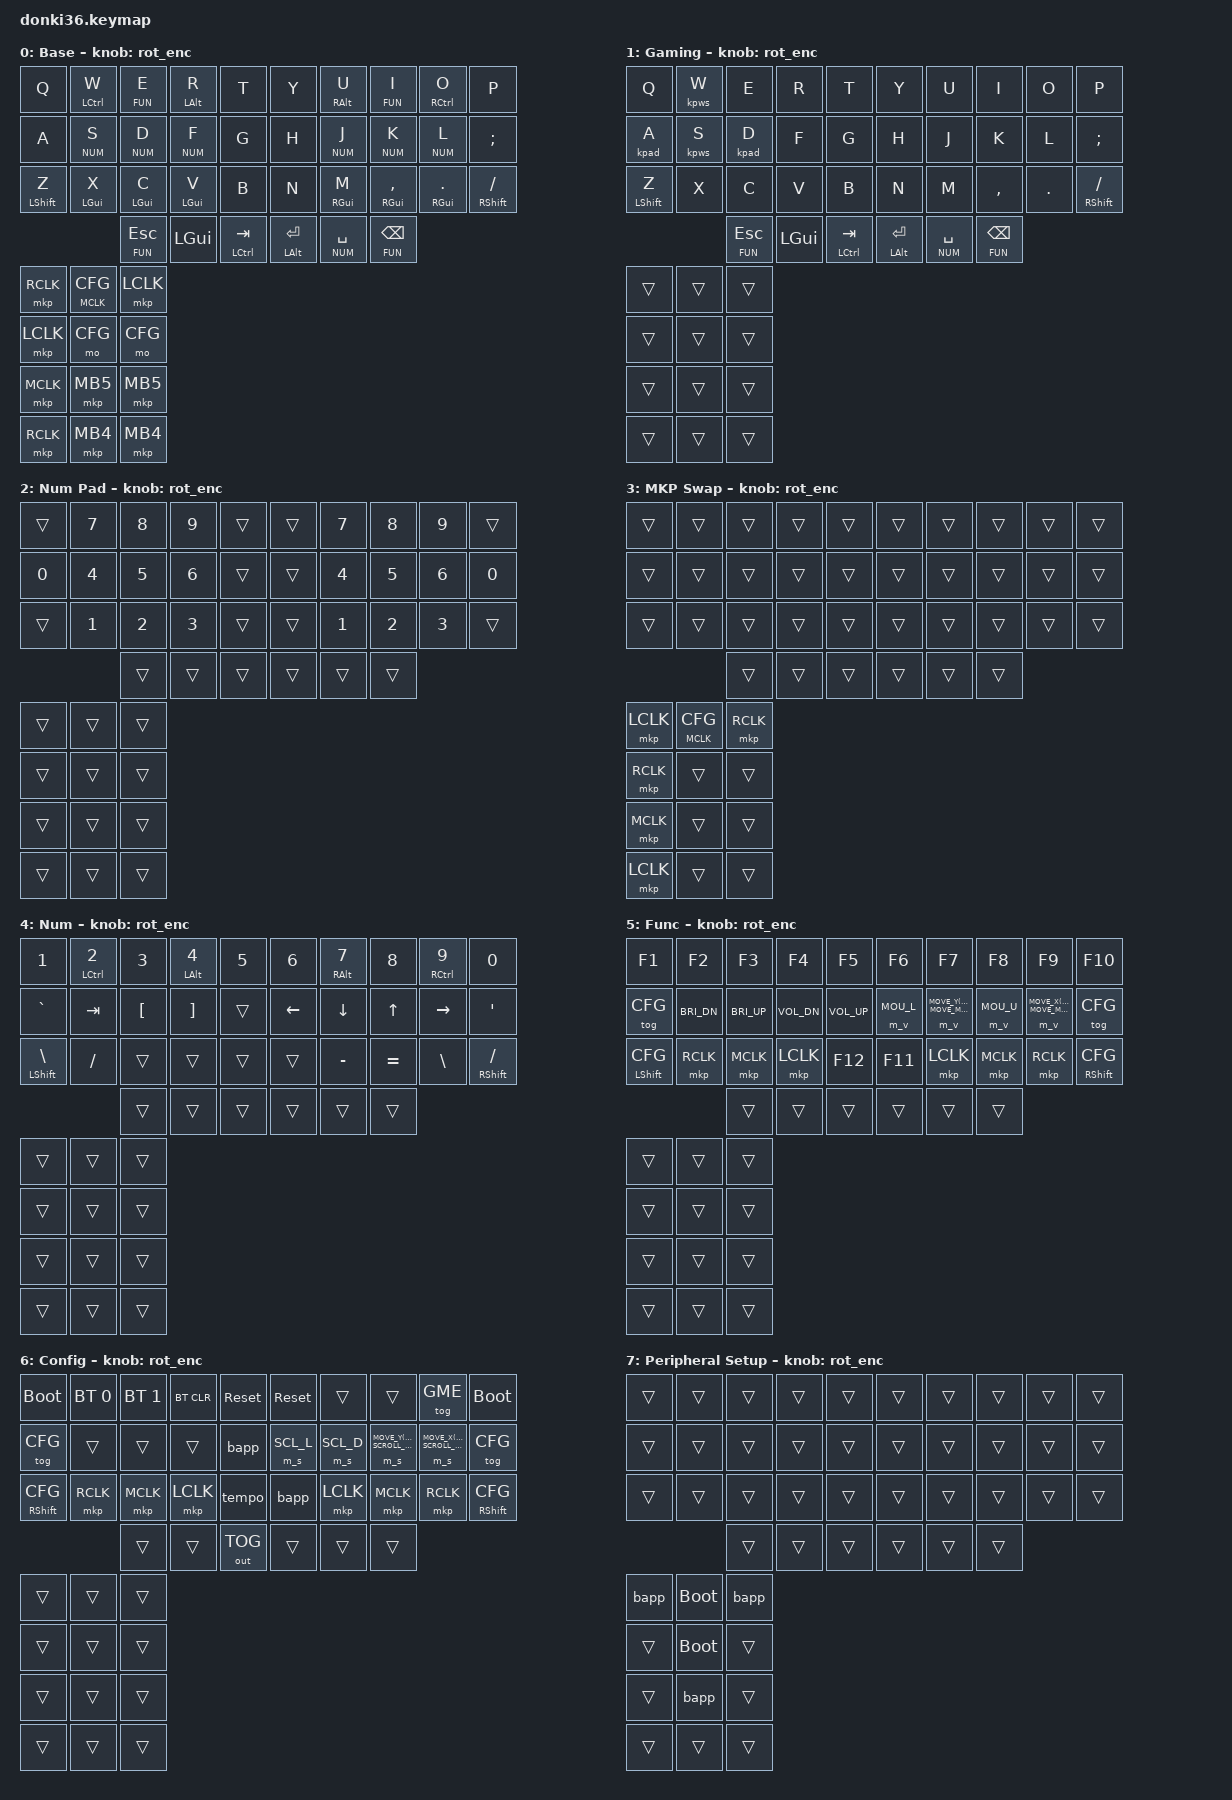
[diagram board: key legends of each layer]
/*
 * Copyright (c) 2020 The ZMK Contributors
 *
 * SPDX-License-Identifier: MIT
 */

#include <zephyr/dt-bindings/input/input-event-codes.h>

#include <behaviors.dtsi>
#include <behaviors/studio_unlock.dtsi>
#include <behaviors/mouse_keys.dtsi>
#include <behaviors/mouse_key_press.dtsi>
#include <behaviors/mouse_key_toggle.dtsi>
#include <behaviors/battery_percentage_printer.dtsi>

#include <dt-bindings/zmk/keys.h>
#include <dt-bindings/zmk/bt.h>
#include <dt-bindings/zmk/rgb.h>
#include <dt-bindings/zmk/ext_power.h>
#include <dt-bindings/zmk/outputs.h>
#include <dt-bindings/zmk/mouse.h>
#include <dt-bindings/zmk/input_transform.h>

#include <behaviors/key_press_lip.dtsi>
#include <behaviors/tempo.dtsi>
// #include <behaviors/insomnia.dtsi>
// #include <dt-bindings/zmk/insomnia.h>

#include <input/processors/report_rate_limit.dtsi>
#include <input/processors/xyz.dtsi>

#define BAS 0
#define GME 1
#define NUP 2
#define LHB 3
#define NUM 4
#define FUN 5
#define CFG 6
#define PHS 7

#ifndef MOVE_Y
#define MOVE_Y(n) (0)
#endif
#ifndef MOVE_X
#define MOVE_X(n) (0)
#endif

#define U_MOUSE_MOVE_MAX 1700
#define MOU_U MOVE_Y(-U_MOUSE_MOVE_MAX)
#define MOU_D MOVE_Y(U_MOUSE_MOVE_MAX)
#define MOU_L MOVE_X(-U_MOUSE_MOVE_MAX)
#define MOU_R MOVE_X(U_MOUSE_MOVE_MAX)

#define U_MOUSE_SCROLL_MAX 10
#define SCL_U MOVE_Y(U_MOUSE_SCROLL_MAX)
#define SCL_D MOVE_Y(-U_MOUSE_SCROLL_MAX)
#define SCL_L MOVE_X(-U_MOUSE_SCROLL_MAX)
#define SCL_R MOVE_X(U_MOUSE_SCROLL_MAX)

// &zip_report_rate_limit {
//         limit-ble-only;
// };

/ {
        xy_transf: xy_transf {
                compatible = "zmk,input-processor-transform";
                #input-processor-cells = <1>;
                type = <INPUT_EV_REL>;
                x-codes = <INPUT_REL_X>, <INPUT_REL_WHEEL>;
                y-codes = <INPUT_REL_Y>, <INPUT_REL_HWHEEL>;
        };
        xy_scaler: xy_scaler {
                compatible = "zmk,input-processor-scaler";
                #input-processor-cells = <2>;
                type = <INPUT_EV_REL>;
                codes = <INPUT_REL_X>, <INPUT_REL_Y>;
                track-remainders;
        };
        x_scaler: x_scaler {
                compatible = "zmk,input-processor-scaler";
                #input-processor-cells = <2>;
                type = <INPUT_EV_REL>;
                codes = <INPUT_REL_X>;
        };
        to_wheel: to_wheel {
                compatible = "zmk,input-processor-code-mapper";
                #input-processor-cells = <0>;
                type = <INPUT_EV_REL>;
                map = <INPUT_REL_X INPUT_REL_HWHEEL>
                    , <INPUT_REL_Y INPUT_REL_WHEEL>;
        };

        tball0_mmv_il {
                compatible = "zmk,input-listener";
                device = <&tball0_split>;
                input-processors = <&zip_zxy>, <&zip_report_rate_limit 1>;
                precise {
                        layers = <NUM>;
                        process-next;
                        input-processors = <&xy_scaler 2 3>;
                };
                scroll {
                        layers = <CFG>;
                        process-next;
                        input-processors = <&xy_transf (INPUT_TRANSFORM_Y_INVERT)>
                                        , <&xy_scaler 1 55> // , <&x_scaler 0 1>
                                        , <&to_wheel>;
                };
        };

        tball1_mmv_il {
                compatible = "zmk,input-listener";
                device = <&tball1_split>;
                input-processors = <&zip_zxy>, <&zip_report_rate_limit 1>;
                precise {
                        layers = <NUM>;
                        process-next;
                        input-processors = <&xy_scaler 2 3>;
                };
                scroll {
                        layers = <CFG>;
                        process-next;
                        input-processors = <&xy_transf (INPUT_TRANSFORM_Y_INVERT)>
                                        , <&xy_scaler 1 55> // , <&x_scaler 0 1>
                                        , <&to_wheel>;
                };
        };

        tball2_mmv_il {
                compatible = "zmk,input-listener";
                device = <&tball2_split>;
                input-processors = <&zip_zxy>, <&zip_report_rate_limit 1>;
                precise {
                        layers = <NUM>;
                        process-next;
                        input-processors = <&xy_scaler 2 3>;
                };
                scroll {
                        layers = <CFG>;
                        process-next;
                        input-processors = <&xy_transf (INPUT_TRANSFORM_Y_INVERT)>
                                        , <&xy_scaler 1 55> // , <&x_scaler 0 1>
                                        , <&to_wheel>;
                };
        };

        tball3_mmv_il {
                compatible = "zmk,input-listener";
                device = <&tball3_split>;
                input-processors = <&zip_zxy>, <&zip_report_rate_limit 1>;
                precise {
                        layers = <NUM>;
                        process-next;
                        input-processors = <&xy_scaler 2 3>;
                };
                scroll {
                        layers = <CFG>;
                        process-next;
                        input-processors = <&xy_transf (INPUT_TRANSFORM_Y_INVERT)>
                                        , <&xy_scaler 1 55> // , <&x_scaler 0 1>
                                        , <&to_wheel>;
                };
        };

        tpoint0_mmv_il {
                compatible = "zmk,input-listener";
                device = <&tpoint0_split>;
                input-processors = <&zip_zxy>, <&zip_report_rate_limit 1>
                                 , <&xy_transf (INPUT_TRANSFORM_Y_INVERT)>;
                precise {
                        layers = <NUM>;
                        process-next;
                        input-processors = <&xy_scaler 2 3>;
                };
                scroll {
                        layers = <CFG>;
                        process-next;
                        input-processors = <&xy_scaler 1 22>, <&x_scaler 0 1>
                                         , <&to_wheel>;
                };
        };

        tpad0_mmv_il {
                compatible = "zmk,input-listener";
                device = <&tpad0_split>;
                input-processors = <&zip_zxy>, <&zip_report_rate_limit 1>
                                 , <&xy_transf (INPUT_TRANSFORM_Y_INVERT)>;
                precise {
                        layers = <NUM>;
                        process-next;
                        input-processors = <&xy_scaler 2 3>;
                };
                scroll {
                        layers = <CFG>;
                        process-next;
                        input-processors = <&xy_scaler 1 22>, <&x_scaler 0 1>
                                         , <&to_wheel>;
                };
        };

        mou0_mmv_il {
                compatible = "zmk,input-listener";
                device = <&mou0_split>;
                input-processors = <&zip_zxy>, <&zip_report_rate_limit 1>
                                 , <&xy_transf (INPUT_TRANSFORM_X_INVERT | INPUT_TRANSFORM_Y_INVERT)>;
                precise {
                        layers = <NUM>;
                        process-next;
                        input-processors = <&xy_scaler 2 3>;
                };
                scroll {
                        layers = <CFG>;
                        process-next;
                        input-processors = <&xy_scaler 1 40>, <&x_scaler 0 1>
                                         , <&to_wheel>;
                };
        };

        mou1_mmv_il {
                compatible = "zmk,input-listener";
                device = <&mou1_split>;
                input-processors = <&zip_zxy>, <&zip_report_rate_limit 1>;
                precise {
                        layers = <NUM>;
                        process-next;
                        input-processors = <&xy_scaler 2 3>;
                };
                scroll {
                        layers = <CFG>;
                        process-next;
                        input-processors = <&xy_transf (INPUT_TRANSFORM_Y_INVERT)>
                                         , <&xy_scaler 1 40>, <&x_scaler 0 1>
                                         , <&to_wheel>;
                };
        };

        mou2_mmv_il {
                compatible = "zmk,input-listener";
                device = <&mou2_split>;
                input-processors = <&zip_zxy>, <&zip_report_rate_limit 1>;
                precise {
                        layers = <NUM>;
                        process-next;
                        input-processors = <&xy_scaler 2 3>;
                };
                scroll {
                        layers = <CFG>;
                        process-next;
                        input-processors = <&xy_transf (INPUT_TRANSFORM_Y_INVERT)>
                                         , <&xy_scaler 1 40>, <&x_scaler 0 1>
                                         , <&to_wheel>;
                };
        };

        /* decompress z to xy */
        zip_zxy_alt: zip_zxy_alt {
                compatible = "zmk,input-processor-xyz";
                #input-processor-cells = <0>;
                type = <INPUT_EV_REL>;
                decompress;
                z-code = <INPUT_REL_Z>;
                xy-codes = <INPUT_REL_X INPUT_REL_Y>;
        };

        mou2_mmv_il_alt {
                compatible = "zmk,input-listener";
                device = <&mou2_split_alt>;
                trackball_mode_overriding {
                        layers = <PHS>;
                        input-processors = <&zip_zxy_alt>;
                };
                normal_scrolling_mode {
                        layers = <BAS GME NUP LHB NUM FUN CFG>;
                        input-processors = <&zip_zxy_alt>
                                         , <&xy_transf (INPUT_TRANSFORM_Y_INVERT)>
                                         , <&xy_scaler 1 40> // , <&x_scaler 0 1>
                                         , <&to_wheel>;
                };
        };

        behaviors {
                ht: hold_tap_mods {
                        compatible = "zmk,behavior-hold-tap"; #binding-cells = <2>;
                        tapping-term-ms = <200>;
                        flavor = "hold-preferred"; bindings = <&kp>, <&kp>;
                        display-name = "mod-tap";
                };
                hm: homerow_mods {
                        compatible = "zmk,behavior-hold-tap"; #binding-cells = <2>;
                        tapping-term-ms = <200>; quick-tap-ms = <200>;
                        flavor = "tap-preferred"; bindings = <&kp>, <&kp>;
                        display-name = "mod-tap";
                };
                hl: homerow_layers {
                        compatible = "zmk,behavior-hold-tap"; #binding-cells = <2>;
                        tapping-term-ms = <200>; quick-tap-ms = <200>;
                        flavor = "tap-preferred"; bindings = <&mo>, <&kp>;
                        display-name = "hold-layer";
                };
                kg: key_press_tap_toggle {
                        compatible = "zmk,behavior-hold-tap"; #binding-cells = <2>;
                        tapping-term-ms = <200>; quick-tap-ms = <200>;
                        flavor = "tap-preferred"; bindings = <&kp>, <&tog>;
                };
                mkg: hold_mouse_key_press_tap_toggle {
                        compatible = "zmk,behavior-hold-tap"; #binding-cells = <2>;
                        tapping-term-ms = <200>; quick-tap-ms = <200>;
                        flavor = "tap-preferred"; bindings = <&mkp>, <&tog>;
                };
                m_v: mouse_move {
                        compatible = "zmk,behavior-input-two-axis";
                        #binding-cells = <1>;
                        trigger-period-ms = <12>; // slow down for OTA, default is 3ms
                        x-input-code = <INPUT_REL_X>;
                        y-input-code = <INPUT_REL_Y>;
                        time-to-max-speed-ms = <300>;
                        acceleration-exponent = <1>;
                };
                m_s: mouse_scroll {
                        compatible = "zmk,behavior-input-two-axis";
                        #binding-cells = <1>;
                        trigger-period-ms = <12>; // slow down for OTA, default is 3ms
                        x-input-code = <INPUT_REL_HWHEEL>;
                        y-input-code = <INPUT_REL_WHEEL>;
                        time-to-max-speed-ms = <50>;
                        acceleration-exponent = <1>;
                };
                ec_s: mouse_scroll {
                        compatible = "zmk,behavior-input-two-axis";
                        #binding-cells = <1>;
                        trigger-period-ms = <12>; // slow down for OTA, default is 3ms
                        x-input-code = <INPUT_REL_HWHEEL>;
                        y-input-code = <INPUT_REL_WHEEL>;
                        time-to-max-speed-ms = <277>;
                        acceleration-exponent = <0>;
                };
                rot_enc: sensor_rotate {
                        compatible = "zmk,behavior-sensor-rotate";
                        #sensor-binding-cells = <0>;
                        bindings = <&ec_s MOVE_Y(-17)>, <&ec_s MOVE_Y(17)>;
                        tap-ms = <65>;
                };
        };

        mmv_input_listener {
                compatible = "zmk,input-listener";
                device = <&m_v>;
        };
        mms_input_listener {
                compatible = "zmk,input-listener";
                device = <&m_s>;
        };

        //   0   1   2   3   4     5   6   7   8   9  <-- split keyboard
        //  10  11  12  13  14    15  16  17  18  19
        //  20  21  22  23  24    25  26  27  28  29
        //          30  31  32    33  34  35
        //  36  37  38  <-- generic pointer devices
        //  39  40  41  <-- mouse devices
        //  42  43  44
        //  45  46  47
        combos {
                compatible = "zmk,combos";

                bksp      { timeout-ms = <50>; key-positions = <7 8>; bindings = <&kp BKSP>; layers = <BAS GME NUP LHB NUM FUN CFG PHS>; };
                del       { timeout-ms = <50>; key-positions = <6 7 8>; bindings = <&kp DEL>; layers = <BAS GME NUP LHB NUM FUN CFG PHS>; };

                esc       { timeout-ms = <50>; key-positions = <1 2>; bindings = <&kp ESC>; layers = <BAS GME NUP LHB NUM FUN CFG PHS>; };
                tab       { timeout-ms = <50>; key-positions = <2 3>; bindings = <&kp TAB>; layers = <BAS GME NUP LHB NUM FUN CFG PHS>; };

                spc_l     { timeout-ms = <50>; key-positions = <12 13>; bindings = <&kp SPC>; layers = <BAS GME NUP LHB NUM FUN CFG PHS>; };
                spc_r     { timeout-ms = <50>; key-positions = <16 17>; bindings = <&kp SPC>; layers = <BAS GME NUP LHB NUM FUN CFG PHS>; };
                spc_l2    { timeout-ms = <50>; key-positions = <22 23>; bindings = <&kp SPC>; layers = <BAS GME NUP NUM FUN CFG>; };
                spc_r2    { timeout-ms = <50>; key-positions = <26 27>; bindings = <&kp SPC>; layers = <BAS GME NUP NUM FUN CFG>; };
                spc_l3    { timeout-ms = <50>; key-positions = <12 23>; bindings = <&kp SPC>; layers = <BAS GME NUP NUM FUN CFG>; };
                spc_r3    { timeout-ms = <50>; key-positions = <26 17>; bindings = <&kp SPC>; layers = <BAS GME NUP NUM FUN CFG>; };

                ret_r     { timeout-ms = <50>; key-positions = <26 17 18>; bindings = <&kp RET>; layers = <BAS GME NUP LHB NUM FUN CFG PHS>; };
                ret_l     { timeout-ms = <50>; key-positions = <11 12 23>; bindings = <&kp RET>; layers = <BAS GME NUP LHB NUM FUN CFG PHS>; };

                tog_NUP_l  { timeout-ms = <50>; key-positions = <1 23>; bindings = <&tog NUP>; layers = <BAS GME NUP LHB NUM FUN CFG PHS>; };
                tog_NUP_r  { timeout-ms = <50>; key-positions = <8 26>; bindings = <&tog NUP>; layers = <BAS GME NUP LHB NUM FUN CFG PHS>; };

                tog_NUM_l  { timeout-ms = <50>; key-positions = <10 31>; bindings = <&tog NUM>; layers = <BAS GME NUP LHB NUM FUN CFG PHS>; };
                tog_NUM_r  { timeout-ms = <50>; key-positions = <19 34>; bindings = <&tog NUM>; layers = <BAS GME NUP LHB NUM FUN CFG PHS>; };
                tog_NUM_la { timeout-ms = <50>; key-positions = <10 23>; bindings = <&tog NUM>; layers = <BAS GME NUP LHB NUM FUN CFG PHS>; };
                tog_NUM_ra { timeout-ms = <50>; key-positions = <19 26>; bindings = <&tog NUM>; layers = <BAS GME NUP LHB NUM FUN CFG PHS>; };
                tog_NUM_lb { timeout-ms = <50>; key-positions = <10 13>; bindings = <&tog NUM>; layers = <BAS GME NUP LHB NUM FUN CFG PHS>; };
                tog_NUM_rb { timeout-ms = <50>; key-positions = <19 16>; bindings = <&tog NUM>; layers = <BAS GME NUP LHB NUM FUN CFG PHS>; };
                tog_NUM_lc { timeout-ms = <50>; key-positions = <11 13>; bindings = <&tog NUM>; layers = <BAS GME NUP LHB NUM FUN CFG PHS>; };
                tog_NUM_rc { timeout-ms = <50>; key-positions = <16 18>; bindings = <&tog NUM>; layers = <BAS GME NUP LHB NUM FUN CFG PHS>; };
                tog_NUM_l34    { timeout-ms = <50>; key-positions = <10 31>; bindings = <&tog NUM>; layers = <BAS GME NUP LHB NUM FUN CFG PHS>; };
                tog_NUM_r34    { timeout-ms = <50>; key-positions = <19 34>; bindings = <&tog NUM>; layers = <BAS GME NUP LHB NUM FUN CFG PHS>; };

                tog_FUN_l { timeout-ms = <50>; key-positions = <21 22>; bindings = <&tog FUN>; layers = <BAS GME NUP LHB NUM FUN CFG PHS>; };
                tog_FUN_r { timeout-ms = <50>; key-positions = <27 28>; bindings = <&tog FUN>; layers = <BAS GME NUP LHB NUM FUN CFG PHS>; };
                
                lclk_l     { timeout-ms = <50>; key-positions = <11 12>; bindings = <&mkp LCLK>; layers = <BAS GME NUP LHB NUM FUN CFG PHS>; };
                rclk_l     { timeout-ms = <50>; key-positions = <11 24>; bindings = <&mkp RCLK>; layers = <BAS GME NUP LHB NUM FUN CFG PHS>; };
                mclk_l     { timeout-ms = <50>; key-positions = <12 24>; bindings = <&mkp MCLK>; layers = <BAS GME NUP LHB NUM FUN CFG PHS>; };
                rclk_la    { timeout-ms = <50>; key-positions = <11 23>; bindings = <&mkp RCLK>; layers = <BAS GME NUP LHB NUM FUN CFG PHS>; };
                mclk_la    { timeout-ms = <50>; key-positions = <12 23>; bindings = <&mkp MCLK>; layers = <BAS GME NUP LHB NUM FUN CFG PHS>; };
                m4_l       { timeout-ms = <50>; key-positions = <13 23>; bindings = <&mkp MB4>; layers = <BAS GME NUP LHB NUM FUN CFG PHS>; };
                m5_l       { timeout-ms = <50>; key-positions = <14 24>; bindings = <&mkp MB5>; layers = <BAS GME NUP LHB NUM FUN CFG PHS>; };
                rclk_l34       { timeout-ms = <50>; key-positions = <11 31>; bindings = <&mkp RCLK>; layers = <BAS GME NUP LHB NUM FUN CFG PHS>; };
                mclk_l34       { timeout-ms = <50>; key-positions = <12 31>; bindings = <&mkp MCLK>; layers = <BAS GME NUP LHB NUM FUN CFG PHS>; };
                m4_l34         { timeout-ms = <50>; key-positions = <13 31>; bindings = <&mkp MB4>; layers = <BAS GME NUP LHB NUM FUN CFG PHS>; };
                m5_l34         { timeout-ms = <50>; key-positions = <14 31>; bindings = <&mkp MB5>; layers = <BAS GME NUP LHB NUM FUN CFG PHS>; };

                lclk_r     { timeout-ms = <50>; key-positions = <17 18>; bindings = <&mkp LCLK>; layers = <BAS GME NUP LHB NUM FUN CFG PHS>; };
                rclk_r     { timeout-ms = <50>; key-positions = <18 25>; bindings = <&mkp RCLK>; layers = <BAS GME NUP LHB NUM FUN CFG PHS>; };
                mclk_r     { timeout-ms = <50>; key-positions = <17 25>; bindings = <&mkp MCLK>; layers = <BAS GME NUP LHB NUM FUN CFG PHS>; };
                rclk_ra    { timeout-ms = <50>; key-positions = <18 26>; bindings = <&mkp RCLK>; layers = <BAS GME NUP LHB NUM FUN CFG PHS>; };
                mclk_ra    { timeout-ms = <50>; key-positions = <17 26>; bindings = <&mkp MCLK>; layers = <BAS GME NUP LHB NUM FUN CFG PHS>; };
                m4_r       { timeout-ms = <50>; key-positions = <16 26>; bindings = <&mkp MB4>; layers = <BAS GME NUP LHB NUM FUN CFG PHS>; };
                m5_r       { timeout-ms = <50>; key-positions = <15 25>; bindings = <&mkp MB5>; layers = <BAS GME NUP LHB NUM FUN CFG PHS>; };
                rclk_r34       { timeout-ms = <50>; key-positions = <18 34>; bindings = <&mkp RCLK>; layers = <BAS GME NUP LHB NUM FUN CFG PHS>; };
                mclk_r34       { timeout-ms = <50>; key-positions = <17 34>; bindings = <&mkp MCLK>; layers = <BAS GME NUP LHB NUM FUN CFG PHS>; };
                m4_r34         { timeout-ms = <50>; key-positions = <16 34>; bindings = <&mkp MB4>; layers = <BAS GME NUP LHB NUM FUN CFG PHS>; };
                m5_r34         { timeout-ms = <50>; key-positions = <15 34>; bindings = <&mkp MB5>; layers = <BAS GME NUP LHB NUM FUN CFG PHS>; };

                dfu_l     { timeout-ms = <50>; key-positions = <0 1>; bindings = <&bootloader>; layers = <CFG>; };
                bt_clr    { timeout-ms = <50>; key-positions = <1 2 3>; bindings = <&bt BT_CLR>; layers = <CFG>; };

                mkp_swap  { timeout-ms = <50>; key-positions = <36 38>; bindings = <&tog LHB>; layers = <BAS GME NUP LHB NUM FUN CFG PHS>; };
                mou_swap  { timeout-ms = <50>; key-positions = <46 47>; bindings = <&tog LHB>; layers = <BAS GME NUP LHB NUM FUN CFG PHS>; };

                m4_ptr    { timeout-ms = <50>; key-positions = <36 37>; bindings = <&mkp MB4>; layers = <BAS GME NUP LHB NUM FUN CFG PHS>; };
                m5_ptr    { timeout-ms = <50>; key-positions = <37 38>; bindings = <&mkp MB5>; layers = <BAS GME NUP LHB NUM FUN CFG PHS>; };

                phs_swap_t { timeout-ms = <80>; key-positions = <36 37 38>; bindings = <&tog PHS>; layers = <BAS GME NUP LHB NUM FUN CFG PHS>; };
                phs_swap_l { timeout-ms = <80>; key-positions = <43 46>; bindings = <&tog PHS>; layers = <BAS GME NUP LHB NUM FUN CFG PHS>; };
                phs_swap_r { timeout-ms = <80>; key-positions = <44 47>; bindings = <&tog PHS>; layers = <BAS GME NUP LHB NUM FUN CFG PHS>; };
        };


        keymap {
                compatible = "zmk,keymap";
                BAS_layer {
// +------------------------------------------------------+     +--------------------------------------------------------+
// |     Q    |  LCTRL:W |  _FUN:E  |  LALT:R  |     T    |     |     Y     |  RALT:U  |  _FUN:I   |  RCTRL:O |     P    |
// |     A    |  _NUM:S  |  _NUM:D  |  _NUM:F  |     G    |     |     H     |  _NUM:J  |  _NUM:K   |  _NUM:L  |     ;:   |
// |  SHFT Z  |  LGUI:X  |  LGUI:C  |  LGUI:V  |     B    |     |     N     |  RGUI:M  |  RGUI:,<  |  RGUI:.> |  SHFT /? |
//                       | ^FUN:ESC |  GUI:ESC | CTRL:TAB |     |  ALT:ENT  | _NUM:SPC | ^FUN:BKSP |
                        display-name = "Base";
                        bindings = <
   &kp Q          &hm LCTRL W   &hl FUN E    &hm LALT R    &kp T               &kp Y         &hm RALT U     &hl FUN I       &hm RCTRL O   &kp P
   &kp A          &hl NUM S     &hl NUM D    &hl NUM F     &kp G               &kp H         &hl NUM J      &hl NUM K       &hl NUM L     &kp SEMI
   &ht LSHFT Z    &hm LGUI X    &hm LGUI C   &hm LGUI V    &kp B               &kp N         &hm RGUI M     &hm RGUI COMMA  &hm RGUI DOT  &ht RSHFT FSLH
                                &lt FUN ESC  &kp LGUI      &ht LCTRL TAB       &ht LALT RET  &lt NUM SPACE  &lt FUN BKSP
   &mkp RCLK   &mkg MCLK CFG   &mkp LCLK
   &mkp LCLK   &mo CFG         &mo CFG
   &mkp MCLK   &mkp MB5        &mkp MB5
   &mkp RCLK   &mkp MB4        &mkp MB4
                        >;
                        sensor-bindings = <&rot_enc>;
                };
                GME_layer {
// +------------------------------------------------------+     +--------------------------------------------------------+
// |     Q    |     W    |     E    |     R    |     T    |     |     Y     |     U    |     I     |     O    |     P    |
// |     A    |     S    |     D    |     F    |     G    |     |     H     |     J    |     K     |     L    |     ;:   |
// |  SHFT Z  |     X    |     C    |     V    |     B    |     |     N     |     M    |    ,<     |    .>    |  SHFT /? |
//                       | ^FUN:ESC |  GUI:ESC | CTRL:TAB |     |  ALT:ENT  | _NUM:SPC | ^FUN:BKSP |
                        display-name = "Gaming";
                        bindings = <
   &kp Q          &kpws W         &kp E          &kp R           &kp T               &kp Y           &kp U            &kp I           &kp O           &kp P
   &kpad A        &kpws S         &kpad D        &kp F           &kp G               &kp H           &kp J            &kp K           &kp L           &kp SEMI
   &ht LSHFT Z    &kp X           &kp C          &kp V           &kp B               &kp N           &kp M            &kp COMMA       &kp DOT         &ht RSHFT FSLH
                                  &lt FUN ESC    &kp LGUI        &ht LCTRL TAB       &ht LALT RET    &lt NUM SPACE    &lt FUN BKSP
   &trans   &trans   &trans
   &trans   &trans   &trans
   &trans   &trans   &trans
   &trans   &trans   &trans
                        >;
                        sensor-bindings = <&rot_enc>;
                };
                NUP_layer {
                        display-name = "Num Pad";
                        bindings = <
   &trans  &kp N7  &kp N8  &kp N9  &trans    &trans  &kp N7  &kp N8  &kp N9  &trans
   &kp N0  &kp N4  &kp N5  &kp N6  &trans    &trans  &kp N4  &kp N5  &kp N6  &kp N0
   &trans  &kp N1  &kp N2  &kp N3  &trans    &trans  &kp N1  &kp N2  &kp N3  &trans
                   &trans  &trans  &trans    &trans  &trans  &trans
   &trans   &trans   &trans
   &trans   &trans   &trans
   &trans   &trans   &trans
   &trans   &trans   &trans
                        >;
                        sensor-bindings = <&rot_enc>;
                };
                LHB_layer {
                        display-name = "MKP Swap";
                        bindings = <
   &trans  &trans  &trans  &trans  &trans    &trans  &trans  &trans  &trans  &trans
   &trans  &trans  &trans  &trans  &trans    &trans  &trans  &trans  &trans  &trans
   &trans  &trans  &trans  &trans  &trans    &trans  &trans  &trans  &trans  &trans
                   &trans  &trans  &trans    &trans  &trans  &trans
   &mkp LCLK   &mkg MCLK CFG   &mkp RCLK
   &mkp RCLK   &trans          &trans
   &mkp MCLK   &trans          &trans
   &mkp LCLK   &trans          &trans
                        >;
                        sensor-bindings = <&rot_enc>;
                };
                NUM_layer {
// +------------------------------------------------------+     +-------------------------------------------------------+
// |    1!    | LCTRL:2@  |    3#    | LALT:4$  |    5%   |     |    6^    |  RALT:7& |    8&    |  RCTRL 9( |    0)    |
// |    `~    |   TAB     |    {[    |    ]}    |         |     |    LFT   |   DWN    |    UP    |    RGT    |    '"    |
// |  SHFT \| |    /?     |          |          |         |     |          |    -_    |    =+    |    \|     |  SHFT /? |
//                        |          |          |         |     |          |    (H)   |          |
                        display-name = "Num";
                        bindings = <
   &kp N1             &hm LCTRL N2   &kp N3     &hm LALT N4   &kp N5              &kp N6      &hm RALT N7   &kp N8      &hm RCTRL N9   &kp N0
   &kp GRAVE          &kp TAB        &kp LBKT   &kp RBKT      &trans              &kp LEFT    &kp DOWN      &kp UP      &kp RIGHT      &kp SQT
   &ht LSHFT BSLH     &kp FSLH       &trans     &trans        &trans              &trans      &kp MINUS     &kp EQUAL   &kp BSLH       &ht RSHFT FSLH
                                     &trans     &trans        &trans              &trans      &trans        &trans
   &trans   &trans   &trans
   &trans   &trans   &trans
   &trans   &trans   &trans
   &trans   &trans   &trans
                        >;
                        sensor-bindings = <&rot_enc>;
                };
                FUN_layer {
// +-----------------------------------------------------+     +------------------------------------------------------+
// |    F1    |    F2    |  (H) F3  |    F4    |    F5   |     |    F6    |    F7    |  (H) F8  |    F9    |    F10   |
// |   ^CFG   |   BRID   |   BRIU   |   VOLD   |   VOLU  |     |   MLFT   |   MDWN   |    MUP   |   MRGT   |   ^CFG   |
// | SHF ^CFG |   RCLK   |   MCLK   |   LCLK   |   F12   |     |   F11    |   LCLK   |   MCLK   |   RCLK   | SHF ^CFG |
//                       |   (H)    |          |         |     |          |          |    (H)   |
                        display-name = "Func";
                        bindings = <
   &kp F1         &kp F2        &kp F3        &kp F4        &kp F5            &kp F6      &kp F7      &kp F8      &kp F9      &kp F10
   &tog CFG       &kp C_BRI_DN  &kp C_BRI_UP  &kp C_VOL_DN  &kp C_VOL_UP      &m_v MOU_L  &m_v MOU_D  &m_v MOU_U  &m_v MOU_R  &tog CFG
   &kg LSHFT CFG  &mkp RCLK     &mkp MCLK     &mkp LCLK     &kp F12           &kp F11     &mkp LCLK   &mkp MCLK   &mkp RCLK   &kg RSHFT CFG
                                &trans        &trans        &trans            &trans      &trans      &trans
   &trans   &trans   &trans
   &trans   &trans   &trans
   &trans   &trans   &trans
   &trans   &trans   &trans
                        >;
                        sensor-bindings = <&rot_enc>;
                };
                CFG_layer {
// +------------------------------------------------------+     +------------------------------------------------------+
// |   DFU    |   BT_0   | (H) BT_1 | (H) BT_C |  RESET   |     |   RESET  |    (H)   |    (H)   |   ^GME   |    DFU   |
// |   ^CFG   |  ISA_ON  |  ISA_OFF |  ISA_SLP |  TEMPO   |     |   SLFT   |   SDWN   |    SUP   |   SRGT   |   ^CFG   |
// | SHF ^CFG |   RCLK   |   MCLK   |   LCLK   |  BATT    |     |   BATT   |   LCLK   |   MCLK   |   RCLK   | SHF ^CFG |
//                       |   (H)    |          |  OUT_TOG |     |          |          |    (H)   |
                        display-name = "Config";
                        bindings = <
   &bootloader    &bt BT_SEL 0  &bt BT_SEL 1  &bt BT_CLR    &sys_reset        &sys_reset   &trans        &trans      &tog GME      &bootloader
// &tog CFG       &isa ISA_ON   &isa ISA_OFF  &isa ISA_SLP  &trans            &m_s SCL_L   &m_s SCL_D    &m_s SCL_U  &m_s SCL_R    &tog CFG
   &tog CFG       &trans        &trans        &trans        &bapp             &m_s SCL_L   &m_s SCL_D    &m_s SCL_U  &m_s SCL_R    &tog CFG
   &kg RSHFT CFG  &mkp RCLK     &mkp MCLK     &mkp LCLK     &tempo            &bapp        &mkp LCLK     &mkp MCLK   &mkp RCLK     &kg RSHFT CFG
                                &trans        &trans        &out OUT_TOG      &trans       &trans         &trans
   &trans   &trans   &trans
   &trans   &trans   &trans
   &trans   &trans   &trans
   &trans   &trans   &trans
                        >;
                        sensor-bindings = <&rot_enc>;
                };
                PHS_layer {
                        display-name = "Peripheral Setup";
                        bindings = <
   &trans  &trans  &trans  &trans  &trans    &trans  &trans  &trans  &trans  &trans
   &trans  &trans  &trans  &trans  &trans    &trans  &trans  &trans  &trans  &trans
   &trans  &trans  &trans  &trans  &trans    &trans  &trans  &trans  &trans  &trans
                   &trans  &trans  &trans    &trans  &trans  &trans
   &bapp       &bootloader     &bapp
   &trans      &bootloader     &trans
   &trans      &bapp           &trans
   &trans      &trans          &trans
                        >;
                        sensor-bindings = <&rot_enc>;
                };
       };
};
